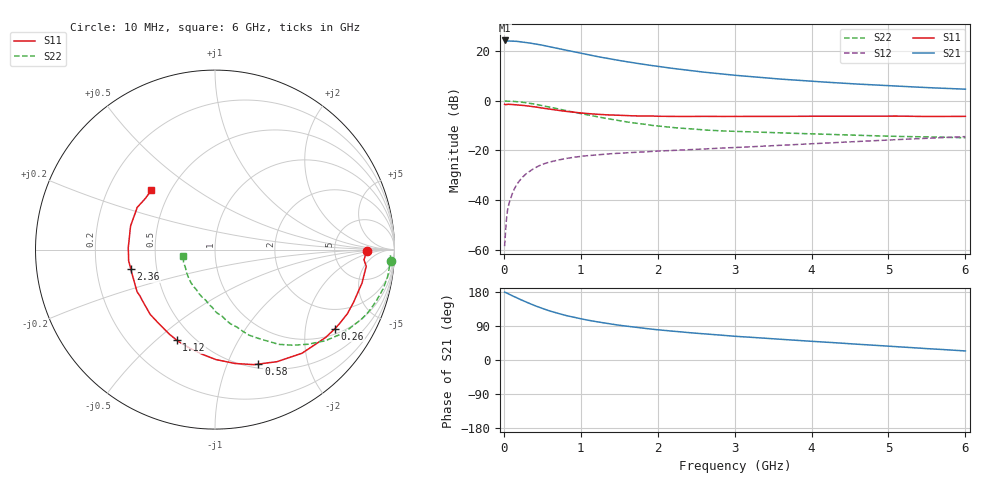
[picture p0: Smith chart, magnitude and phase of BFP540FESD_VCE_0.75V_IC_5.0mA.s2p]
! Infineon Technologies  Discrete & RF Semiconductors
! BFP540FESD
! VCE = 0.75 V,  IC =  5.0 mA
! Common Emitter S-Parameters:  Nov 2015
# GHz  S  MA  R  50
!  f  S11  S21  S12  S22
! GHz  MAG  ANG  MAG  ANG  MAG  ANG  MAG  ANG
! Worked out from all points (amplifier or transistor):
!   210 points, 10 MHz to 6 GHz, reference 50 ohm
!   highest |S21| = 24.2 dB at 10 MHz (marker M1)
!   |S21| within 3 dB of that: start of sweep to 668.4 MHz
!   unconditionally stable (mu >= 1): 2.703 GHz to end of sweep
!   at 185 MHz: K = 0.08, MSG = 28.3 dB, |S12| = -32.9 dB
!   at 1.52 GHz: K = 0.64, MSG = 18.6 dB, |S12| = -21.1 dB
!   at 6 GHz: K = 1.29, MAG = 6.3 dB, |S12| = -14.4 dB
!   S11 on the Smith chart (normalised r, x): 10 MHz: 12, -1; 260 MHz: 1.19, -2.90; 580 MHz: 0.54, -1.30; 1.12 GHz: 0.41, -0.58; 2.36 GHz: 0.35, -0.10; 6 GHz: 0.39, +0.34
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0.01  0.846 -0.5  16.17 178.9  0.0012 73.4  0.983 -3.7
0.02  0.832 -3.9  15.66 178.4  0.002 81.7  0.9775 -1.8
0.04  0.8423 -5.5  15.76 176.5  0.0051 87.6  0.9781 -3.5
0.07  0.8434 -8.9  15.78 173.5  0.0089 86.0  0.976 -6.2
0.15  0.827 -20.2  15.68 165.9  0.0186 80.2  0.9621 -13.1
0.2  0.8196 -25.8  15.34 160.9  0.0243 76.7  0.944 -17.4
0.26  0.8007 -33.3  14.96 155.6  0.0309 72.7  0.9218 -22.3
0.3  0.7871 -38.5  14.7 151.9  0.035 70.6  0.9038 -25.4
0.4  0.754 -50.0  13.86 143.5  0.0443 64.5  0.8545 -32.9
0.5  0.7135 -61.1  13.01 135.9  0.0529 60.0  0.7958 -39.7
0.58  0.6823 -69.2  12.22 130.5  0.0576 56.7  0.75 -44.3
0.8  0.6125 -89.6  10.38 117.7  0.0688 48.9  0.6369 -56.0
1.02  0.5631 -105.8  8.815 107.9  0.0768 44.0  0.543 -64.8
1.12  0.5474 -113.0  8.215 104.0  0.0796 42.7  0.5067 -68.8
1.5  0.5106 -135.0  6.414 91.7  0.088 38.3  0.3982 -81.1
1.72  0.4943 -145.2  5.655 86.0  0.0921 36.6  0.3528 -88.2
2.02  0.4858 -156.9  4.838 79.4  0.0973 35.6  0.3081 -96.2
2.36  0.4814 -166.9  4.13 73.0  0.1028 34.8  0.2774 -104.0
3.1  0.4825 177.1  3.144 61.4  0.1164 34.3  0.239 -119.0
4.1  0.4877 162.9  2.399 48.1  0.1389 32.9  0.2133 -134.3
5.1  0.4901 150.1  1.967 35.2  0.1649 29.0  0.1921 -149.9
6  0.4848 136.9  1.701 23.9  0.1899 24.4  0.1804 -168.1
